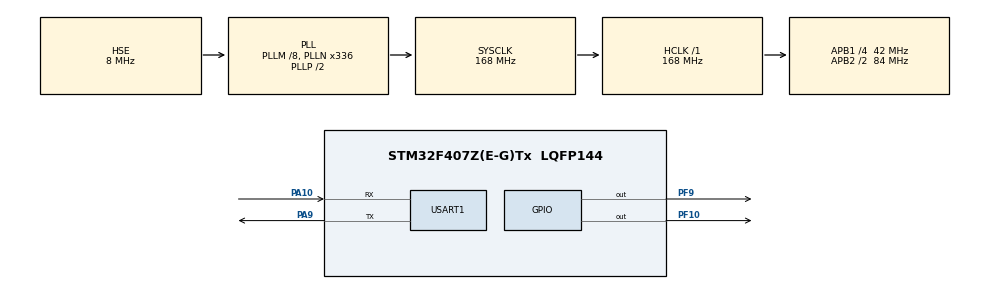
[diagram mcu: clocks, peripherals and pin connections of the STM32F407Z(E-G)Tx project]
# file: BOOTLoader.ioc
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Mcu.Family=STM32F4
Mcu.Name=STM32F407Z(E-G)Tx
Mcu.Package=LQFP144
NVIC.PriorityGroup=NVIC_PRIORITYGROUP_4
PA10.Mode=Asynchronous
PA10.Signal=USART1_RX
PA13.Mode=Serial_Wire
PA13.Signal=SYS_JTMS-SWDIO
PA14.Mode=Serial_Wire
PA14.Signal=SYS_JTCK-SWCLK
PA9.Mode=Asynchronous
PA9.Signal=USART1_TX
PF10.PinState=GPIO_PIN_SET
PF10.Signal=GPIO_Output
PF9.PinState=GPIO_PIN_SET
PF9.Signal=GPIO_Output
PH0-OSC_IN.Mode=HSE-External-Oscillator
PH0-OSC_IN.Signal=RCC_OSC_IN
PH1-OSC_OUT.Mode=HSE-External-Oscillator
PH1-OSC_OUT.Signal=RCC_OSC_OUT
ProjectManager.HeapSize=0x200
ProjectManager.StackSize=0x400
ProjectManager.TargetToolchain=MDK-ARM V5.32
RCC.48MHZClocksFreq_Value=48000000
RCC.AHBFreq_Value=168000000
RCC.APB1CLKDivider=RCC_HCLK_DIV4
RCC.APB1Freq_Value=42000000
RCC.APB1TimFreq_Value=84000000
RCC.APB2CLKDivider=RCC_HCLK_DIV2
RCC.APB2Freq_Value=84000000
RCC.APB2TimFreq_Value=168000000
RCC.CortexFreq_Value=168000000
RCC.HCLKFreq_Value=168000000
RCC.HSE_VALUE=8000000
RCC.HSI_VALUE=16000000
RCC.LSE_VALUE=32768
RCC.PLLM=8
RCC.PLLN=336
RCC.PLLSourceVirtual=RCC_PLLSOURCE_HSE
RCC.SYSCLKFreq_VALUE=168000000
RCC.SYSCLKSource=RCC_SYSCLKSOURCE_PLLCLK
RCC.VCOOutputFreq_Value=336000000
USART1.VirtualMode=VM_ASYNC
board=custom

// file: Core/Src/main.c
/* USER CODE BEGIN Header */
/**
  ******************************************************************************
  * @file           : main.c
  * @brief          : Main program body
  ******************************************************************************
  * @attention
  *
  * Copyright (c) 2026 STMicroelectronics.
  * All rights reserved.
  *
  * This software is licensed under terms that can be found in the LICENSE file
  * in the root directory of this software component.
  * If no LICENSE file comes with this software, it is provided AS-IS.
  *
  ******************************************************************************
  */
/* USER CODE END Header */
#include "main.h"
#include "usart.h"
#include "gpio.h"
/* USER CODE BEGIN Includes */
#include "boot_jump.h"
#include "boot_update.h"
#include "boot_flash.h"
#include "boot_metadata.h"
/* USER CODE END Includes */

/* USER CODE BEGIN PD */
#define BOOT_LED_SELF_TEST  0U
#define BOOT_EARLY_LED_TEST 0U
#define BOOT_UPDATE_WINDOW_MS    2000UL   /* 普通上电的 UPDATE 命令窗口 */
#define BOOT_GOTOBOOT_WINDOW_MS  60000UL  /* App 留言复位后的加长窗口 */
/* USER CODE END PD */

void SystemClock_Config(void);

/* USER CODE BEGIN 0 */
static int slot_is_bootable(const app_metadata_t *metadata, uint32_t slot);

static int metadata_slot_is_valid(const app_metadata_t *metadata, uint32_t slot)
{
  return metadata != NULL &&
         boot_slot_is_valid(slot) &&
         metadata->slot_state[slot] == SLOT_STATE_VALID;
}

static uint32_t select_active_slot(const app_metadata_t *metadata)
{
  uint32_t active = boot_metadata_active_index(metadata->active_slot);
  uint32_t other = (active == SLOT_A) ? SLOT_B : SLOT_A;

  if (slot_is_bootable(metadata, active))
  {
    return active;
  }
  if (slot_is_bootable(metadata, other))
  {
    return other;
  }
  return active;
}

static uint32_t select_download_slot(const app_metadata_t *metadata,
                                     uint32_t active_slot)
{
  if (!metadata_slot_is_valid(metadata, SLOT_A) &&
      !metadata_slot_is_valid(metadata, SLOT_B))
  {
    return SLOT_A;
  }
  return (active_slot == SLOT_A) ? SLOT_B : SLOT_A;
}

static int slot_is_bootable(const app_metadata_t *metadata, uint32_t slot)
{
  uint32_t base;
  uint32_t end;

  if (!metadata_slot_is_valid(metadata, slot))
  {
    return 0;
  }

  base = boot_slot_base(slot);
  end = boot_slot_end(slot);
  if (metadata->slot[slot].size > (end - base) ||
      !boot_app_is_valid(base, base + metadata->slot[slot].size))
  {
    return 0;
  }

  return boot_crc32_flash(base, metadata->slot[slot].size) ==
         metadata->slot[slot].crc32;
}
/* USER CODE END 0 */

int main(void)
{

  /* MCU Configuration--------------------------------------------------------*/

  /* Reset of all peripherals, Initializes the Flash interface and the Systick. */
  HAL_Init();

#if BOOT_EARLY_LED_TEST
  /*
   * 最早期硬件自检：此处尚未配置 HSE、PLL、串口和 App 跳转。
   * 只用复位后的内部 HSI 时钟直接点亮 PF9/PF10。
   */
  RCC->AHB1ENR |= RCC_AHB1ENR_GPIOFEN;
  GPIOF->MODER &= ~((3UL << (9U * 2U)) | (3UL << (10U * 2U)));
  GPIOF->MODER |=  ((1UL << (9U * 2U)) | (1UL << (10U * 2U)));
  while (1)
  {
    GPIOF->ODR ^= GPIO_PIN_9 | GPIO_PIN_10;
    for (volatile uint32_t delay = 0U; delay < 500000U; delay++)
    {
    }
  }
#endif

  /* Configure the system clock */
  SystemClock_Config();

  /* Initialize all configured peripherals */
  MX_GPIO_Init();
#if BOOT_LED_SELF_TEST
  /*
   * 纯 Bootloader 自检：不初始化串口、不接收命令、也不跳 App。
   * 若 USB 串口线接着时这里仍能闪灯，说明供电、复位、时钟和
   * Bootloader 本身正常，后续再逐项恢复串口与跳转。
   */
  while (1)
  {
    HAL_GPIO_TogglePin(GPIOF, GPIO_PIN_9 | GPIO_PIN_10);
    HAL_Delay(300U);
  }
#endif
  MX_USART1_UART_Init();
  /* USER CODE BEGIN 2 */
  static const uint8_t wait_a[] = "WAIT UPDATE ACTIVE=A DOWNLOAD=A\r\n";
  static const uint8_t wait_ab[] = "WAIT UPDATE ACTIVE=A DOWNLOAD=B\r\n";
  static const uint8_t wait_ba[] = "WAIT UPDATE ACTIVE=B DOWNLOAD=A\r\n";
  static const uint8_t jump_a[] = "TIMEOUT: JUMPING TO APP A\r\n";
  static const uint8_t jump_b[] = "TIMEOUT: JUMPING TO APP B\r\n";
  static const uint8_t fallback[] = "ACTIVE INVALID: FALLBACK TO OTHER SLOT\r\n";
  static const uint8_t invalid[] = "APP INVALID: STAY IN BOOTLOADER\r\n";
  static const uint8_t header_bad[] = "HEADER BAD\r\n";
  static const uint8_t header_timeout[] = "HEADER TIMEOUT\r\n";
  static const uint8_t slot_mismatch[] = "SLOT MISMATCH\r\n";
  static const uint8_t erase_ok[] = "ERASE OK\r\n";
  static const uint8_t erase_fail[] = "ERASE FAIL\r\n";
  static const uint8_t write_done[] = "WRITE DONE: REBOOTING\r\n";
  static const uint8_t write_fail[] = "WRITE FAIL\r\n";
  static const uint8_t crc_fail[] = "CRC FAIL\r\n";
  static const uint8_t metadata_fail[] = "METADATA FAIL\r\n";
  static const uint8_t version_reject[] = "VERSION FAIL\r\n";
  static const uint8_t goto_boot_notice[] = "GOTOBOOT FLAG: EXTENDED UPDATE WINDOW\r\n";

  const uint8_t *status = NULL;
  uint16_t status_length = 0U;
  const uint8_t *wait_msg = wait_a;
  uint16_t wait_len = sizeof(wait_a) - 1U;
  uint32_t first_pass = 1U;
  app_metadata_t metadata;
  uint32_t active_slot;
  uint32_t download_slot;
  uint32_t goto_boot;

  /* App 留过言就开长窗口：给上位机足够时间发起升级；普通上电仍是 2 秒 */
  goto_boot = boot_goto_boot_requested();
  if (goto_boot != 0U)
  {
    HAL_UART_Transmit(&huart1, goto_boot_notice,
                      sizeof(goto_boot_notice) - 1U, HAL_MAX_DELAY);
  }

  /* USER CODE END 2 */

  /* Infinite loop */
  /* USER CODE BEGIN WHILE */
  while (1)
  {
    /* Re-read Flash before every new command window. A failed session may
       already have written generation+1 and changed newest/stale roles. */
    if (!boot_metadata_read(&metadata))
    {
      boot_metadata_default(&metadata);
    }
    active_slot = select_active_slot(&metadata);
    download_slot = select_download_slot(&metadata, active_slot);
    wait_msg = wait_a;
    wait_len = sizeof(wait_a) - 1U;
    if (active_slot == SLOT_B)
    {
      wait_msg = wait_ba;
      wait_len = sizeof(wait_ba) - 1U;
    }
    else if (download_slot == SLOT_B)
    {
      wait_msg = wait_ab;
      wait_len = sizeof(wait_ab) - 1U;
    }
    HAL_UART_Transmit(&huart1, wait_msg, wait_len, 1000U);

    /* 长窗口只在进门第一轮生效；失败后的重试轮次仍是 2 秒 */
    uint32_t window_ms = (goto_boot != 0U) ?
                         BOOT_GOTOBOOT_WINDOW_MS : BOOT_UPDATE_WINDOW_MS;

    goto_boot = 0U;

    if (boot_wait_update_command(window_ms))
    {
      /* 一旦进入过升级会话就不再自动跳 App：失败后留在 bootloader
         等待重试（与原"失败常驻"行为一致），回旧固件走复位 */
      first_pass = 0U;
      firmware_header_t header;

      if (!boot_receive_header(&header))
      {
        status = header_timeout;
        status_length = sizeof(header_timeout) - 1U;
      }
      else if (!boot_header_is_valid(&header))
      {
        status = header_bad;
        status_length = sizeof(header_bad) - 1U;
      }
      else if (header.image_slot != download_slot)
      {
        status = slot_mismatch;
        status_length = sizeof(slot_mismatch) - 1U;
      }
      else if (metadata_slot_is_valid(&metadata, active_slot) &&
               header.version < metadata.slot[active_slot].version)
      {
        status = version_reject;
        status_length = sizeof(version_reject) - 1U;
      }
      else
      {
        app_metadata_t metadata_for_update = metadata;

        metadata_for_update.active_slot =
            (active_slot == SLOT_B) ? METADATA_ACTIVE_B : METADATA_ACTIVE_A;

        if (!boot_metadata_begin_update(&metadata_for_update, download_slot,
                                        header.size, header.crc32,
                                        header.version))
        {
          status = metadata_fail;
          status_length = sizeof(metadata_fail) - 1U;
        }
        else if (!boot_flash_erase_slot(download_slot, header.size))
        {
          status = erase_fail;
          status_length = sizeof(erase_fail) - 1U;
        }
        else
        {
          HAL_UART_Transmit(&huart1, erase_ok,
                            sizeof(erase_ok) - 1U, HAL_MAX_DELAY);

          if (!boot_receive_and_write(download_slot, header.size))
          {
            status = write_fail;
            status_length = sizeof(write_fail) - 1U;
          }
          else if (boot_crc32_flash(boot_slot_base(download_slot), header.size) !=
                   header.crc32)
          {
            status = crc_fail;
            status_length = sizeof(crc_fail) - 1U;
          }
          else if (!boot_app_is_valid(boot_slot_base(download_slot),
                                      boot_slot_base(download_slot) + header.size))
          {
            status = invalid;
            status_length = sizeof(invalid) - 1U;
          }
          else if (!boot_metadata_mark_valid(download_slot))
          {
            status = metadata_fail;
            status_length = sizeof(metadata_fail) - 1U;
          }
          else if (download_slot != active_slot && !boot_metadata_switch_active())
          {
            status = metadata_fail;
            status_length = sizeof(metadata_fail) - 1U;
          }
          else
          {
            HAL_UART_Transmit(&huart1, write_done,
                              sizeof(write_done) - 1U, HAL_MAX_DELAY);
            HAL_Delay(500U);
            NVIC_SystemReset();
          }
        }
      }
      /* 落到这里 = 本次升级会话失败：status 已带原因，循环底统一上报后
         继续监听，上位机见到 WAIT UPDATE 横幅即可直接重发 UPDATE 重试 */
    }
    else if (first_pass)
    {
      /* 只有开机第一轮没收到 UPDATE 才尝试跳 App；升级失败后留在
         bootloader 保持可服务，按复位即可回旧固件 */
      uint32_t boot_slot = active_slot;
      uint32_t other_slot = (active_slot == SLOT_A) ? SLOT_B : SLOT_A;
      uint32_t active_ok;
      uint32_t other_ok;

      first_pass = 0U;
      active_ok = slot_is_bootable(&metadata, boot_slot);
      other_ok = slot_is_bootable(&metadata, other_slot);

      if (!active_ok && other_ok)
      {
        HAL_UART_Transmit(&huart1, fallback,
                          sizeof(fallback) - 1U, HAL_MAX_DELAY);
        boot_slot = other_slot;
      }

      if (active_ok || other_ok)
      {
        const uint8_t *jump_msg = (boot_slot == SLOT_A) ? jump_a : jump_b;
        uint16_t jump_len = (boot_slot == SLOT_A) ?
                            (sizeof(jump_a) - 1U) : (sizeof(jump_b) - 1U);

        HAL_UART_Transmit(&huart1, jump_msg, jump_len, HAL_MAX_DELAY);
        HAL_Delay(20U);
        boot_jump_to_app(boot_slot_base(boot_slot), boot_slot_end(boot_slot));
      }

      status = invalid;
      status_length = sizeof(invalid) - 1U;
    }

    /* 升级失败或无可用 App：报一次原因、复播等待横幅，回到循环顶继续
       监听 UPDATE——重试升级不再要求手动复位 */
    if (status != NULL)
    {
      HAL_GPIO_TogglePin(GPIOF, GPIO_PIN_9 | GPIO_PIN_10);
      HAL_UART_Transmit(&huart1, status, status_length, HAL_MAX_DELAY);
    }
    /* USER CODE END WHILE */

  }
}

void SystemClock_Config(void)
{
  RCC_OscInitTypeDef RCC_OscInitStruct = {0};
  RCC_ClkInitTypeDef RCC_ClkInitStruct = {0};

  /** Configure the main internal regulator output voltage
  */
  __HAL_RCC_PWR_CLK_ENABLE();
  __HAL_PWR_VOLTAGESCALING_CONFIG(PWR_REGULATOR_VOLTAGE_SCALE1);

  /** Initializes the RCC Oscillators according to the specified parameters
  * in the RCC_OscInitTypeDef structure.
  */
  RCC_OscInitStruct.OscillatorType = RCC_OSCILLATORTYPE_HSE;
  RCC_OscInitStruct.HSEState = RCC_HSE_ON;
  RCC_OscInitStruct.PLL.PLLState = RCC_PLL_ON;
  RCC_OscInitStruct.PLL.PLLSource = RCC_PLLSOURCE_HSE;
  RCC_OscInitStruct.PLL.PLLM = 8;
  RCC_OscInitStruct.PLL.PLLN = 336;
  RCC_OscInitStruct.PLL.PLLP = RCC_PLLP_DIV2;
  RCC_OscInitStruct.PLL.PLLQ = 7;
  if (HAL_RCC_OscConfig(&RCC_OscInitStruct) != HAL_OK)
  {
    Error_Handler();
  }

  /** Initializes the CPU, AHB and APB buses clocks
  */
  RCC_ClkInitStruct.ClockType = RCC_CLOCKTYPE_HCLK|RCC_CLOCKTYPE_SYSCLK
                              |RCC_CLOCKTYPE_PCLK1|RCC_CLOCKTYPE_PCLK2;
  RCC_ClkInitStruct.SYSCLKSource = RCC_SYSCLKSOURCE_PLLCLK;
  RCC_ClkInitStruct.AHBCLKDivider = RCC_SYSCLK_DIV1;
  RCC_ClkInitStruct.APB1CLKDivider = RCC_HCLK_DIV4;
  RCC_ClkInitStruct.APB2CLKDivider = RCC_HCLK_DIV2;

  if (HAL_RCC_ClockConfig(&RCC_ClkInitStruct, FLASH_LATENCY_5) != HAL_OK)
  {
    Error_Handler();
  }
}

void Error_Handler(void)
{
  __disable_irq();
  while (1)
  {
  }
}
